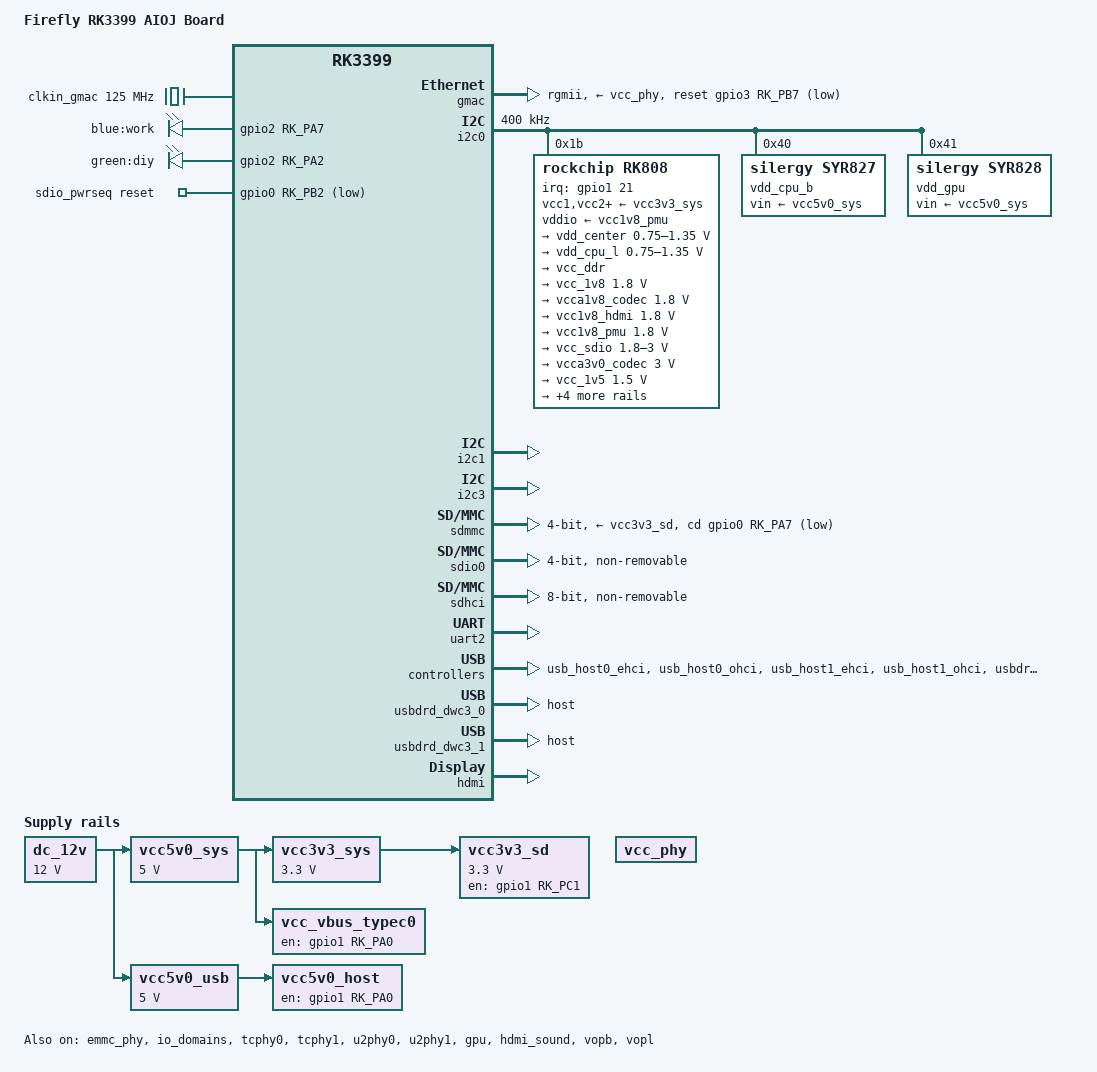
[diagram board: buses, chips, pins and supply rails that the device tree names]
// SPDX-License-Identifier: (GPL-2.0+ OR MIT)
/*
 * Copyright (c) 2022 T-Chip Intelligent Technology Co., Ltd
 */

/dts-v1/;
#include <dt-bindings/input/linux-event-codes.h>
#include "rk3399.dtsi"
#include "rk3399-opp.dtsi"

/ {
	model = "Firefly RK3399 AIOJ Board";
	compatible = "firefly,rk3399-aioj", "rockchip,rk3399";

	aliases {
		mmc0 = &sdhci;
		mmc1 = &sdmmc;
	};

	clkin_gmac: external-gmac-clock {
		compatible = "fixed-clock";
		clock-frequency = <125000000>;
		clock-output-names = "clkin_gmac";
		#clock-cells = <0>;
	};

	dc_12v: dc-12v {
		compatible = "regulator-fixed";
		regulator-name = "dc_12v";
		regulator-always-on;
		regulator-boot-on;
		regulator-min-microvolt = <12000000>;
		regulator-max-microvolt = <12000000>;
	};

	vcc5v0_sys: vcc5v0-sys {
		compatible = "regulator-fixed";
		regulator-name = "vcc5v0_sys";
		regulator-always-on;
		regulator-boot-on;
		regulator-min-microvolt = <5000000>;
		regulator-max-microvolt = <5000000>;
		vin-supply = <&dc_12v>;
	};

	vcc5v0_usb: vcc5v0-usb {
		compatible = "regulator-fixed";
		regulator-name = "vcc5v0_usb";
		regulator-always-on;
		regulator-boot-on;
		regulator-min-microvolt = <5000000>;
		regulator-max-microvolt = <5000000>;
		vin-supply = <&dc_12v>;
	};

	vcc3v3_sys: vcc3v3-sys {
		compatible = "regulator-fixed";
		regulator-name = "vcc3v3_sys";
		regulator-always-on;
		regulator-boot-on;
		regulator-min-microvolt = <3300000>;
		regulator-max-microvolt = <3300000>;
		vin-supply = <&vcc5v0_sys>;
	};

	vcc3v3_sd: vcc3v3-sd {
		compatible = "regulator-fixed";
		enable-active-high;
		gpio = <&gpio1 RK_PC1 GPIO_ACTIVE_HIGH>;
		pinctrl-names = "default";
		pinctrl-0 = <&vcc3v3_sd_en>;
		regulator-name = "vcc3v3_sd";
		regulator-boot-on;
		regulator-min-microvolt = <3300000>;
		regulator-max-microvolt = <3300000>;
		vin-supply = <&vcc3v3_sys>;
	};

	vcc5v0_host: vcc5v0-host {
		compatible = "regulator-fixed";
		enable-active-high;
		gpio = <&gpio1 RK_PA0 GPIO_ACTIVE_HIGH>;
		pinctrl-names = "default";
		pinctrl-0 = <&vcc5v0_host_en>;
		regulator-name = "vcc5v0_host";
		regulator-always-on;
		vin-supply = <&vcc5v0_usb>;
	};

	vcc_phy: vcc-phy {
		compatible = "regulator-fixed";
		regulator-name = "vcc_phy";
		regulator-always-on;
		regulator-boot-on;
	};

	vcc_vbus_typec0: vcc-vbus-typec0 {
		compatible = "regulator-fixed";
		enable-active-high;
		gpio = <&gpio1 RK_PA0 GPIO_ACTIVE_HIGH>;
		pinctrl-names = "default";
		pinctrl-0 = <&vcc_vbus_typec0_en>;
		regulator-name = "vcc_vbus_typec0";
		regulator-always-on;
		vin-supply = <&vcc5v0_sys>;
	};

	leds {
		compatible = "gpio-leds";
		pinctrl-names = "default";
		pinctrl-0 = <&work_led_pin>, <&diy_led_pin>;

		work_led: led-0 {
			label = "blue:work";
			gpios = <&gpio2 RK_PA7 GPIO_ACTIVE_HIGH>;
			default-state = "on";
			linux,default-trigger = "heartbeat";
		};

		diy_led: led-1 {
			label = "green:diy";
			gpios = <&gpio2 RK_PA2 GPIO_ACTIVE_HIGH>;
			default-state = "off";
		};
	};

	sdio_pwrseq: sdio-pwrseq {
		compatible = "mmc-pwrseq-simple";
		clocks = <&rk808 1>;
		clock-names = "ext_clock";
		pinctrl-names = "default";
		pinctrl-0 = <&wifi_enable_h>;

		/*
		 * On the module itself this is one of these (depending
		 * on the actual card populated):
		 * - SDIO_RESET_L_WL_REG_ON
		 * - PDN (power down when low)
		 */
		reset-gpios = <&gpio0 RK_PB2 GPIO_ACTIVE_LOW>;
	};
};

&emmc_phy {
	status = "okay";
};

&gmac {
	assigned-clocks = <&cru SCLK_RMII_SRC>;
	assigned-clock-parents = <&clkin_gmac>;
	clock_in_out = "input";
	phy-supply = <&vcc_phy>;
	phy-mode = "rgmii";
	pinctrl-names = "default";
	pinctrl-0 = <&rgmii_pins>;
	snps,reset-gpio = <&gpio3 RK_PB7 GPIO_ACTIVE_LOW>;
	snps,reset-active-low;
	snps,reset-delays-us = <0 10000 50000>;
	tx_delay = <0x28>;
	rx_delay = <0x11>;
	status = "okay";
};

&i2c0 {
	clock-frequency = <400000>;
	i2c-scl-rising-time-ns = <168>;
	i2c-scl-falling-time-ns = <4>;
	status = "okay";

	rk808: pmic@1b {
		compatible = "rockchip,rk808";
		reg = <0x1b>;
		interrupt-parent = <&gpio1>;
		interrupts = <21 IRQ_TYPE_LEVEL_LOW>;
		pinctrl-names = "default";
		pinctrl-0 = <&pmic_int_l>;
		rockchip,system-power-controller;
		wakeup-source;
		#clock-cells = <1>;
		clock-output-names = "rk808-clkout1", "rk808-clkout2";

		vcc1-supply = <&vcc3v3_sys>;
		vcc2-supply = <&vcc3v3_sys>;
		vcc3-supply = <&vcc3v3_sys>;
		vcc4-supply = <&vcc3v3_sys>;
		vcc6-supply = <&vcc3v3_sys>;
		vcc7-supply = <&vcc3v3_sys>;
		vcc8-supply = <&vcc3v3_sys>;
		vcc9-supply = <&vcc3v3_sys>;
		vcc10-supply = <&vcc3v3_sys>;
		vcc11-supply = <&vcc3v3_sys>;
		vcc12-supply = <&vcc3v3_sys>;
		vddio-supply = <&vcc1v8_pmu>;

		regulators {
			vdd_center: DCDC_REG1 {
				regulator-name = "vdd_center";
				regulator-always-on;
				regulator-boot-on;
				regulator-min-microvolt = <750000>;
				regulator-max-microvolt = <1350000>;
				regulator-ramp-delay = <6001>;
				regulator-state-mem {
					regulator-off-in-suspend;
				};
			};

			vdd_cpu_l: DCDC_REG2 {
				regulator-name = "vdd_cpu_l";
				regulator-always-on;
				regulator-boot-on;
				regulator-min-microvolt = <750000>;
				regulator-max-microvolt = <1350000>;
				regulator-ramp-delay = <6001>;
				regulator-state-mem {
					regulator-off-in-suspend;
				};
			};

			vcc_ddr: DCDC_REG3 {
				regulator-name = "vcc_ddr";
				regulator-always-on;
				regulator-boot-on;
				regulator-state-mem {
					regulator-on-in-suspend;
				};
			};

			vcc_1v8: DCDC_REG4 {
				regulator-name = "vcc_1v8";
				regulator-always-on;
				regulator-boot-on;
				regulator-min-microvolt = <1800000>;
				regulator-max-microvolt = <1800000>;
				regulator-state-mem {
					regulator-on-in-suspend;
					regulator-suspend-microvolt = <1800000>;
				};
			};

			vcca1v8_codec: LDO_REG1 {
				regulator-name = "vcca1v8_codec";
				regulator-always-on;
				regulator-boot-on;
				regulator-min-microvolt = <1800000>;
				regulator-max-microvolt = <1800000>;
				regulator-state-mem {
					regulator-off-in-suspend;
				};
			};

			vcc1v8_hdmi: LDO_REG2 {
				regulator-name = "vcc1v8_hdmi";
				regulator-always-on;
				regulator-boot-on;
				regulator-min-microvolt = <1800000>;
				regulator-max-microvolt = <1800000>;
				regulator-state-mem {
					regulator-off-in-suspend;
				};
			};

			vcc1v8_pmu: LDO_REG3 {
				regulator-name = "vcc1v8_pmu";
				regulator-always-on;
				regulator-boot-on;
				regulator-min-microvolt = <1800000>;
				regulator-max-microvolt = <1800000>;
				regulator-state-mem {
					regulator-on-in-suspend;
					regulator-suspend-microvolt = <1800000>;
				};
			};

			vcc_sdio: LDO_REG4 {
				regulator-name = "vcc_sdio";
				regulator-always-on;
				regulator-boot-on;
				regulator-min-microvolt = <1800000>;
				regulator-max-microvolt = <3000000>;
				regulator-state-mem {
					regulator-on-in-suspend;
					regulator-suspend-microvolt = <3000000>;
				};
			};

			vcca3v0_codec: LDO_REG5 {
				regulator-name = "vcca3v0_codec";
				regulator-always-on;
				regulator-boot-on;
				regulator-min-microvolt = <3000000>;
				regulator-max-microvolt = <3000000>;
				regulator-state-mem {
					regulator-off-in-suspend;
				};
			};

			vcc_1v5: LDO_REG6 {
				regulator-name = "vcc_1v5";
				regulator-always-on;
				regulator-boot-on;
				regulator-min-microvolt = <1500000>;
				regulator-max-microvolt = <1500000>;
				regulator-state-mem {
					regulator-on-in-suspend;
					regulator-suspend-microvolt = <1500000>;
				};
			};

			vcca0v9_hdmi: LDO_REG7 {
				regulator-name = "vcca0v9_hdmi";
				regulator-always-on;
				regulator-boot-on;
				regulator-min-microvolt = <900000>;
				regulator-max-microvolt = <900000>;
				regulator-state-mem {
					regulator-off-in-suspend;
				};
			};

			vcc_3v0: LDO_REG8 {
				regulator-name = "vcc_3v0";
				regulator-always-on;
				regulator-boot-on;
				regulator-min-microvolt = <3000000>;
				regulator-max-microvolt = <3000000>;
				regulator-state-mem {
					regulator-on-in-suspend;
					regulator-suspend-microvolt = <3000000>;
				};
			};

			vcc3v3_s3: vcc_lan: SWITCH_REG1 {
				regulator-name = "vcc3v3_s3";
				regulator-always-on;
				regulator-boot-on;
				regulator-state-mem {
					regulator-off-in-suspend;
				};
			};

			vcc3v3_s0: SWITCH_REG2 {
				regulator-name = "vcc3v3_s0";
				regulator-always-on;
				regulator-boot-on;
				regulator-state-mem {
					regulator-off-in-suspend;
				};
			};
		};
	};

	vdd_cpu_b: regulator@40 {
		compatible = "silergy,syr827";
		reg = <0x40>;
		fcs,suspend-voltage-selector = <1>;
		pinctrl-names = "default";
		pinctrl-0 = <&vsel1_pin>;
		regulator-name = "vdd_cpu_b";
		regulator-min-microvolt = <712500>;
		regulator-max-microvolt = <1500000>;
		regulator-ramp-delay = <1000>;
		regulator-always-on;
		regulator-boot-on;
		vin-supply = <&vcc5v0_sys>;

		regulator-state-mem {
			regulator-off-in-suspend;
		};
	};

	vdd_gpu: regulator@41 {
		compatible = "silergy,syr828";
		reg = <0x41>;
		fcs,suspend-voltage-selector = <1>;
		pinctrl-names = "default";
		pinctrl-0 = <&vsel2_pin>;
		regulator-name = "vdd_gpu";
		regulator-min-microvolt = <712500>;
		regulator-max-microvolt = <1500000>;
		regulator-ramp-delay = <1000>;
		regulator-always-on;
		regulator-boot-on;
		vin-supply = <&vcc5v0_sys>;

		regulator-state-mem {
			regulator-off-in-suspend;
		};
	};
};

&i2c1 {
	i2c-scl-rising-time-ns = <300>;
	i2c-scl-falling-time-ns = <15>;
	status = "okay";
};

&i2c3 {
	i2c-scl-rising-time-ns = <450>;
	i2c-scl-falling-time-ns = <15>;
	status = "okay";
};

/* &pwm0 { */
/* 	status = "okay"; */
/* }; */

/* &pwm2 { */
/* 	status = "okay"; */
/* }; */

/* &pwm3 { */
/* 	status = "okay"; */
/* }; */

&io_domains {
	audio-supply = <&vcca1v8_codec>;
	bt656-supply = <&vcc_3v0>;
	sdmmc-supply = <&vcc_sdio>;
	gpio1830-supply = <&vcc_3v0>;
	status = "okay";
};

&sdmmc {
	bus-width = <4>;
	cap-sd-highspeed;
	cd-gpios = <&gpio0 RK_PA7 GPIO_ACTIVE_LOW>;
	disable-wp;
	max-frequency = <150000000>;
	pinctrl-names = "default";
	pinctrl-0 = <&sdmmc_clk &sdmmc_cmd &sdmmc_bus4>;
	sd-uhs-sdr104;
	vmmc-supply = <&vcc3v3_sd>;
	vqmmc-supply = <&vcc_sdio>;
	status = "okay";
};

&sdio0 {
       bus-width = <4>;
       cap-sd-highspeed;
       cap-sdio-irq;
       disable-wp;
       keep-power-in-suspend;
       mmc-pwrseq = <&sdio_pwrseq>;
       non-removable;
       pinctrl-names = "default";
       pinctrl-0 = <&sdio0_bus4 &sdio0_cmd &sdio0_clk>;
       sd-uhs-sdr104;
       status = "okay";
};

&sdhci {
	bus-width = <8>;
	mmc-hs400-1_8v;
	mmc-hs400-enhanced-strobe;
	non-removable;
	status = "okay";
};

&pcie_phy {
	status = "disabled";
};

&pcie0 {
	ep-gpios = <&gpio3 RK_PB5 GPIO_ACTIVE_HIGH>;
	num-lanes = <4>;
	pinctrl-names = "default";
	pinctrl-0 = <&pcie_clkreqn_cpm>;
	status = "disabled";
};

&tcphy0 {
	status = "okay";
};

&tcphy1 {
	status = "okay";
};

&u2phy0 {
	status = "okay";

	u2phy0_otg: otg-port {
		phy-supply = <&vcc_vbus_typec0>;
		status = "okay";
	};
};

&u2phy1 {
	status = "okay";

	u2phy1_host: host-port {
		phy-supply = <&vcc5v0_host>;
		status = "okay";
	};
};

&uart2 {
	status = "okay";
};

&usb_host0_ehci {
	status = "okay";
};

&usb_host0_ohci {
	status = "okay";
};

&usb_host1_ehci {
	status = "okay";
};

&usb_host1_ohci {
	status = "okay";
};

&usbdrd3_0 {
	status = "okay";
};

&usbdrd_dwc3_0 {
	status = "okay";
	dr_mode = "host";
};

&usbdrd3_1 {
	status = "okay";
};

&usbdrd_dwc3_1 {
	status = "okay";
	dr_mode = "host";
};

&gpu {
	mali-supply = <&vdd_gpu>;
	status = "okay";
};

&hdmi {
	ddc-i2c-bus = <&i2c3>;
	pinctrl-names = "default";
	pinctrl-0 = <&hdmi_cec>;
	status = "okay";
};

&hdmi_sound {
	status = "okay";
};

&vopb {
	status = "okay";
};

&vopb_mmu {
	status = "okay";
};

&vopl {
	status = "okay";
};

&vopl_mmu {
	status = "okay";
};

&hdmi_in_vopl {
	status = "disabled";
};

&cpu_l0 {
	cpu-supply = <&vdd_cpu_l>;
};

&cpu_l1 {
	cpu-supply = <&vdd_cpu_l>;
};

&cpu_l2 {
	cpu-supply = <&vdd_cpu_l>;
};

&cpu_l3 {
	cpu-supply = <&vdd_cpu_l>;
};

&cpu_b0 {
	cpu-supply = <&vdd_cpu_b>;
};

&cpu_b1 {
	cpu-supply = <&vdd_cpu_b>;
};

&pinctrl {
	pmic {
		pmic_int_l: pmic-int-l {
			rockchip,pins = <1 RK_PC5 RK_FUNC_GPIO &pcfg_pull_up>;
		};

		vsel1_pin: vsel1-pin {
			rockchip,pins = <1 RK_PC2 RK_FUNC_GPIO &pcfg_pull_down>;
		};

		vsel2_pin: vsel2-pin {
			rockchip,pins = <1 RK_PB6 RK_FUNC_GPIO &pcfg_pull_down>;
		};
	};

	leds {
		diy_led_pin: diy-led-pin {
			rockchip,pins = <2 RK_PA2 RK_FUNC_GPIO &pcfg_pull_none>;
		};

		work_led_pin: work-led-pin {
			rockchip,pins = <2 RK_PA7 RK_FUNC_GPIO &pcfg_pull_none>;
		};
	};

	sdio-pwrseq {
		wifi_enable_h: wifi-enable-h {
			rockchip,pins = <0 RK_PB2 RK_FUNC_GPIO &pcfg_pull_none>;
		};
	};

	usb2 {
		vcc5v0_host_en: vcc5v0-host-en {
			rockchip,pins = <1 RK_PA0 RK_FUNC_GPIO &pcfg_pull_none>;
		};
	};

	sdmmc {
		vcc3v3_sd_en: vcc3v3-sd-en {
			rockchip,pins = <1 RK_PC1 RK_FUNC_GPIO &pcfg_pull_none>;
		};
	};

	usb-typec {
		vcc_vbus_typec0_en: vcc-vbus-typec0-en {
			rockchip,pins = <1 RK_PA3 RK_FUNC_GPIO &pcfg_pull_none>;
		};
	};
};
